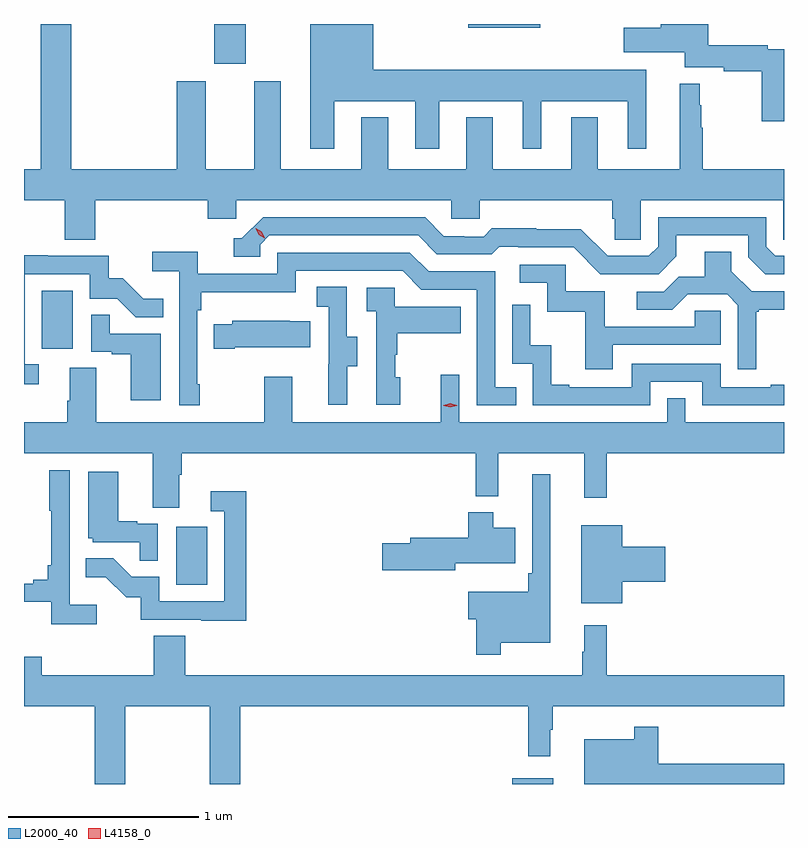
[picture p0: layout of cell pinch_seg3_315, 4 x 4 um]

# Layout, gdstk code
import gdstk
lib = gdstk.Library(unit=1e-6, precision=1e-09)
def R(c, l, rs):  # rectangles x0, y0, x1, y1
    for r in rs: c.add(gdstk.rectangle(r[:2], r[2:], *l))
def P(c, l, *ps):  # polygons
    for p in ps: c.add(gdstk.Polygon(p, *l))
L2000_40 = (2000, 40)
L4158_0 = (4158, 0)

pinch_seg3_315 = lib.new_cell('pinch_seg3_315')
R(pinch_seg3_315, L2000_40, [(995.192,705.836,995.407,705.865), (993.422,706.884,993.586,707.191), (992.714,708.126,992.878,708.433), (993.623,709.626,993.787,709.836), (994.958,709.817,995.338,709.836)])
P(pinch_seg3_315, L2000_40, [(996.621,709.704),(996.536,709.704),(996.536,709.724),(996.221,709.724),(996.221,709.836),(995.972,709.836),(995.972,709.817),(995.778,709.817),(995.778,709.688),(996.098,709.688),(996.098,709.608),(996.304,709.608),(996.304,709.588),(996.505,709.588),(996.505,709.323),(996.621,709.323)],
  [(994.255,709.43),(994.679,709.43),(994.679,709.179),(994.807,709.179),(994.807,709.43),(995.246,709.43),(995.246,709.179),(995.344,709.179),(995.344,709.43),(995.798,709.43),(995.798,709.179),(995.896,709.179),(995.896,709.594),(994.459,709.594),(994.459,709.836),(994.127,709.836),(994.127,709.179),(994.255,709.179)],
  [(992.996,708.908),(993.587,708.908),(993.587,708.81),(993.738,708.81),(993.738,708.908),(994.869,708.908),(994.869,708.81),(995.019,708.81),(995.019,708.908),(995.717,708.908),(995.717,708.81),(995.731,708.81),(995.731,708.7),(995.868,708.7),(995.868,708.908),(996.618,708.908),(996.618,708.7),(996.621,708.7),(996.621,709.072),(996.193,709.072),(996.193,709.289),(996.185,709.289),(996.185,709.409),(996.178,709.409),(996.178,709.522),(996.071,709.522),(996.071,709.072),(995.641,709.072),(995.641,709.345),(995.501,709.345),(995.501,709.072),(995.089,709.072),(995.089,709.345),(994.949,709.345),(994.949,709.072),(994.537,709.072),(994.537,709.345),(994.397,709.345),(994.397,709.072),(993.973,709.072),(993.973,709.534),(993.833,709.534),(993.833,709.072),(993.577,709.072),(993.577,709.534),(993.425,709.534),(993.425,709.072),(992.87,709.072),(992.87,709.836),(992.71,709.836),(992.71,709.072),(992.621,709.072),(992.621,708.908),(992.836,708.908),(992.836,708.7),(992.996,708.7)],
  [(996.055,708.613),(996.055,708.723),(996.432,708.723),(996.432,708.609),(996.522,708.519),(996.621,708.519),(996.621,708.615),(996.576,708.615),(996.528,708.663),(996.528,708.819),(995.958,708.819),(995.958,708.663),(995.91,708.615),(995.694,708.615),(995.552,708.757),(995.316,708.757),(995.316,708.76),(995.083,708.76),(995.041,708.717),(994.938,708.717),(994.938,708.72),(994.831,708.72),(994.732,708.819),(993.879,708.819),(993.768,708.708),(993.725,708.708),(993.725,708.612),(993.864,708.612),(993.864,708.675),(993.912,708.723),(994.695,708.723),(994.794,708.624),(995.083,708.624),(995.122,708.663),(995.221,708.663),(995.221,708.66),(995.514,708.66),(995.655,708.519),(995.961,708.519)],
  [(993.547,707.941),(993.534,707.941),(993.534,708.329),(993.554,708.329),(993.554,708.425),(994.05,708.425),(994.05,708.537),(994.614,708.537),(994.713,708.438),(995.004,708.438),(995.004,707.829),(995.213,707.829),(995.213,707.925),(995.1,707.925),(995.1,708.534),(994.75,708.534),(994.651,708.633),(993.954,708.633),(993.954,708.522),(993.536,708.522),(993.536,708.638),(993.297,708.638),(993.297,708.536),(993.438,708.536),(993.438,707.829),(993.547,707.829)],
  [(996.475,708.321),(996.487,708.321),(996.487,708.332),(996.621,708.332),(996.621,708.429),(996.45,708.429),(996.343,708.536),(996.343,708.638),(996.203,708.638),(996.203,708.506),(996.068,708.506),(995.988,708.426),(995.847,708.426),(995.847,708.333),(996.034,708.333),(996.115,708.414),(996.321,708.414),(996.378,708.357),(996.378,708.018),(996.475,708.018)],
  [(992.698,708.045),(992.625,708.045),(992.625,708.519),(992.967,708.519),(992.967,708.39),(993.111,708.39),(993.209,708.292),(993.353,708.292),(993.353,708.391),(993.249,708.391),(993.142,708.498),(993.066,708.498),(993.066,708.615),(992.747,708.615),(992.747,708.62),(992.621,708.62),(992.621,707.94),(992.698,707.94)],
  [(995.719,708.147),(996.288,708.147),(996.288,708.327),(996.151,708.327),(996.151,708.243),(995.677,708.243),(995.677,708.429),(995.472,708.429),(995.472,708.57),(995.229,708.57),(995.229,708.474),(995.376,708.474),(995.376,708.321),(995.575,708.321),(995.575,708.018),(995.719,708.018)],
  [(994.321,708.034),(994.375,708.034),(994.375,708.189),(994.32,708.189),(994.32,708.452),(994.161,708.452),(994.161,708.349),(994.224,708.349),(994.224,708.045),(994.223,708.045),(994.223,707.832),(994.321,707.832)],
  [(994.6,707.976),(994.575,707.976),(994.575,708.095),(994.585,708.095),(994.585,708.209),(994.919,708.209),(994.919,708.349),(994.572,708.349),(994.572,708.447),(994.425,708.447),(994.425,708.323),(994.476,708.323),(994.476,707.832),(994.6,707.832)],
  [(995.916,707.952),(996.192,707.952),(996.192,707.829),(996.621,707.829),(996.621,707.938),(996.551,707.938),(996.551,707.925),(996.288,707.925),(996.288,708.048),(995.82,708.048),(995.82,707.925),(995.491,707.925),(995.491,707.938),(995.396,707.938),(995.396,708.146),(995.286,708.146),(995.286,708.358),(995.19,708.358),(995.19,708.048),(995.298,708.048),(995.298,707.829),(995.916,707.829)],
  [(993.34,708.207),(993.071,708.207),(993.071,708.305),(992.976,708.305),(992.976,708.111),(993.083,708.111),(993.083,708.099),(993.182,708.099),(993.182,707.856),(993.34,707.856)],
  [(993.73,708.134),(994.127,708.134),(994.127,708.271),(994.019,708.271),(994.019,708.274),(993.717,708.274),(993.717,708.256),(993.619,708.256),(993.619,708.127),(993.73,708.127)],
  [(993.439,707.464),(993.452,707.464),(993.452,707.576),(994.999,707.576),(994.999,707.351),(995.117,707.351),(995.117,707.576),(995.57,707.576),(995.57,707.343),(995.687,707.343),(995.687,707.576),(996.621,707.576),(996.621,707.74),(996.102,707.74),(996.102,707.867),(996.006,707.867),(996.006,707.74),(994.911,707.74),(994.911,707.989),(994.814,707.989),(994.814,707.74),(994.033,707.74),(994.033,707.98),(993.886,707.98),(993.886,707.74),(993.001,707.74),(993.001,708.026),(992.861,708.026),(992.861,707.852),(992.849,707.852),(992.849,707.74),(992.621,707.74),(992.621,707.576),(993.299,707.576),(993.299,707.29),(993.439,707.29)],
  [(993.004,706.78),(992.862,706.78),(992.862,707.488),(992.754,707.488),(992.754,707.275),(992.765,707.275),(992.765,706.987),(992.746,706.987),(992.746,706.91),(992.669,706.91),(992.669,706.891),(992.621,706.891),(992.621,706.794),(992.765,706.794),(992.765,706.678),(993.004,706.678)],
  [(993.324,707.205),(993.218,707.205),(993.218,707.218),(993.118,707.218),(993.118,707.479),(992.96,707.479),(992.96,707.13),(992.982,707.13),(992.982,707.109),(993.229,707.109),(993.229,707.011),(993.324,707.011)],
  [(995.131,706.58),(995.392,706.58),(995.392,707.467),(995.295,707.467),(995.295,706.945),(995.275,706.945),(995.275,706.849),(994.958,706.849),(994.958,706.702),(995.002,706.702),(995.002,706.515),(995.131,706.515)],
  [(993.791,707.377),(993.603,707.377),(993.603,707.271),(993.675,707.271),(993.675,706.797),(993.333,706.797),(993.333,706.926),(993.189,706.926),(993.091,707.024),(992.947,707.024),(992.947,706.925),(993.051,706.925),(993.158,706.818),(993.235,706.818),(993.235,706.701),(993.553,706.701),(993.553,706.696),(993.791,706.696)],
  [(994.89,706.997),(995.206,706.997),(995.206,707.185),(995.092,707.185),(995.092,707.266),(994.958,707.266),(994.958,707.133),(994.655,707.133),(994.655,707.103),(994.506,707.103),(994.506,706.961),(994.89,706.961)],
  [(995.77,706.901),(995.995,706.901),(995.995,707.084),(995.77,707.084),(995.77,707.197),(995.555,707.197),(995.555,706.787),(995.77,706.787)],
  [(993.153,706.244),(993.598,706.244),(993.598,705.836),(993.758,705.836),(993.758,706.244),(995.275,706.244),(995.275,705.981),(995.392,705.981),(995.392,706.121),(995.404,706.121),(995.404,706.244),(996.621,706.244),(996.621,706.408),(995.687,706.408),(995.687,706.672),(995.57,706.672),(995.57,706.532),(995.559,706.532),(995.559,706.408),(993.47,706.408),(993.47,706.616),(993.305,706.616),(993.305,706.408),(992.714,706.408),(992.714,706.506),(992.621,706.506),(992.621,706.244),(992.993,706.244),(992.993,705.836),(993.153,705.836)],
  [(996.621,705.943),(995.96,705.943),(995.96,706.138),(995.832,706.138),(995.832,706.072),(995.57,706.072),(995.57,705.836),(996.621,705.836)])
P(pinch_seg3_315, L4158_0, [(994.864,707.819),(994.829,707.828),(994.828,707.829),(994.829,707.829),(994.864,707.839),(994.899,707.829),(994.9,707.829),(994.899,707.828)],
  [(993.888,708.709),(993.857,708.728),(993.841,708.761),(993.841,708.761),(993.841,708.761),(993.872,708.742),(993.888,708.709),(993.888,708.709)])

lib.write_gds('pinch_seg3_315.gds')
